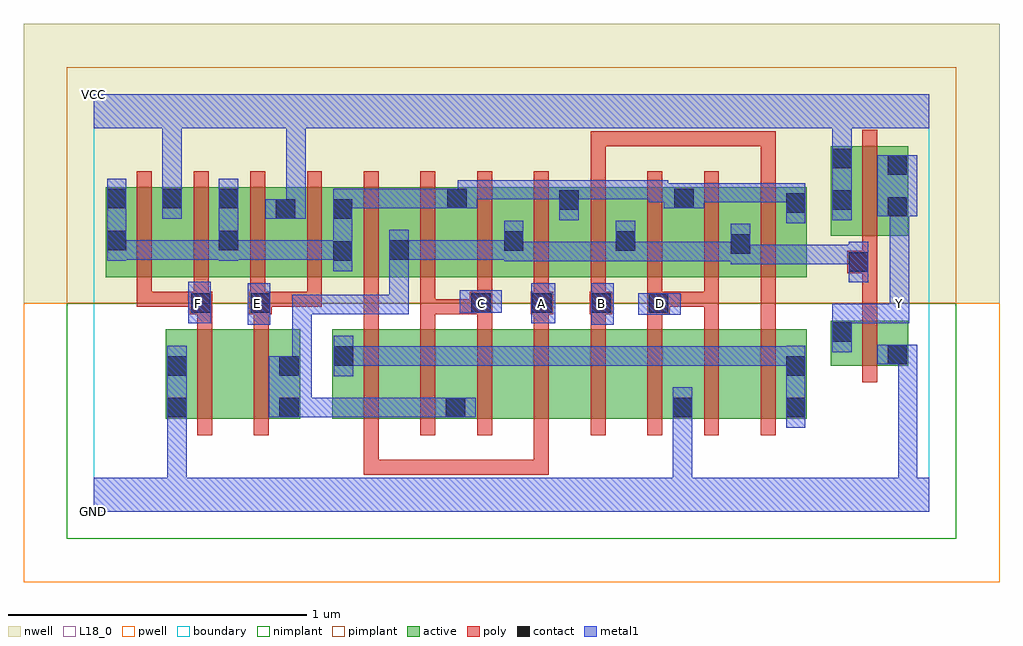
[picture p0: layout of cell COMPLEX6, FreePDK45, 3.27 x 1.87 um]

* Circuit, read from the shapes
.subckt COMPLEX6 A B C D E F GND VCC Y
M1 n1 F GND VSUBS nfet w=0.3u l=0.05u
M2 n2 E n1 VSUBS nfet w=0.3u l=0.05u
M3 n3 A n4 VSUBS nfet w=0.3u l=0.05u
M4 n2 C n3 VSUBS nfet w=0.3u l=0.05u
M5 n5 C n2 VSUBS nfet w=0.3u l=0.05u
M6 n6 A n5 VSUBS nfet w=0.3u l=0.05u
M7 n7 B n6 VSUBS nfet w=0.3u l=0.05u
M8 GND D n7 VSUBS nfet w=0.3u l=0.05u
M9 n8 D GND VSUBS nfet w=0.3u l=0.05u
M10 n4 B n8 VSUBS nfet w=0.3u l=0.05u
M11 GND n2 Y VSUBS nfet w=0.15u l=0.05u
M12 VCC F n9 n10 pfet w=0.3u l=0.05u m=2
M13 VCC E n9 n10 pfet w=0.3u l=0.05u m=2
M14 n2 A n9 n10 pfet w=0.3u l=0.05u m=2
M15 n9 C n2 n10 pfet w=0.3u l=0.05u m=2
M16 n2 B n9 n10 pfet w=0.3u l=0.05u m=2
M17 n9 D n2 n10 pfet w=0.3u l=0.05u m=2
M18 Y n2 VCC n10 pfet w=0.3u l=0.05u
.ends

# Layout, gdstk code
import gdstk
lib = gdstk.Library(unit=1e-6, precision=1e-09)
def R(c, l, rs):  # rectangles x0, y0, x1, y1
    for r in rs: c.add(gdstk.rectangle(r[:2], r[2:], *l))
def A(c, l, x, y, w, h, nx, ny, dx, dy):  # array of equal rectangles
    R(c, l, [(x+i*dx, y+j*dy, x+i*dx+w, y+j*dy+h) for i in range(nx) for j in range(ny)])
active = (1, 0)
pwell = (2, 0)
nwell = (3, 0)
nimplant = (4, 0)
pimplant = (5, 0)
poly = (9, 0)
contact = (10, 0)
metal1 = (11, 0)
L18_0 = (18, 0)
boundary = (235, 0)

complex6 = lib.new_cell('COMPLEX6')
R(complex6, active, [(0.242,0.312,0.317,0.612), (0.242,0.312,0.467,0.612), (0.467,0.312,0.692,0.612), (0.617,0.312,0.692,0.612), (0.8,0.312,1.025,0.612), (1.025,0.312,1.25,0.612), (1.175,0.312,1.405,0.612), (1.175,0.312,1.25,0.517), (1.405,0.312,1.595,0.612), (1.595,0.312,1.785,0.612), (1.785,0.312,2.01,0.612), (1.935,0.312,2.165,0.612), (1.935,0.312,2.01,0.572), (2.165,0.312,2.39,0.612), (2.315,0.312,2.39,0.612), (0.8,0.33,0.875,0.612), (2.47,0.49,2.73,0.64), (2.655,0.49,2.73,0.64), (2.47,0.495,2.545,0.64), (0.04,0.787,0.115,1.087), (0.04,0.787,0.3,1.087), (0.225,0.787,0.49,1.087), (0.415,0.787,0.49,1.087), (0.415,0.787,0.68,1.087), (0.605,0.787,0.68,1.055), (0.605,0.787,0.872,1.087), (0.797,0.787,1.06,1.087), (0.797,0.787,0.872,1.055), (0.985,0.787,1.255,1.087), (1.18,0.787,1.445,1.087), (1.37,0.787,1.63,1.087), (1.555,0.787,1.82,1.087), (1.745,0.787,2.015,1.087), (1.94,0.787,2.205,1.087), (2.13,0.787,2.39,1.087), (2.315,0.787,2.39,1.072), (1.18,0.827,1.255,1.087), (0.985,0.84,1.06,1.055), (2.13,0.86,2.205,1.055), (1.37,0.87,1.445,1.055), (1.745,0.87,1.82,1.055), (1.94,0.882,2.015,1.087), (2.47,0.925,2.545,1.225), (2.47,0.925,2.73,1.225), (2.655,0.925,2.73,1.2), (1.555,0.962,1.63,1.087), (0.225,1.007,0.3,1.087)])
R(complex6, pwell, [(-0.235,-0.235,3.035,0.7)])
R(complex6, nwell, [(-0.235,0.7,3.035,1.635)])
R(complex6, nimplant, [(-0.09,-0.09,2.89,0.7)])
R(complex6, pimplant, [(-0.09,0.7,2.89,1.49)])
A(complex6, poly, 0.905, 0.257, 0.05, 0.41, 8, 1, 0.19, 0)
A(complex6, poly, 1.095, 0.617, 0.05, 0.095, 5, 1, 0.19, 0)
A(complex6, poly, 0.145, 0.687, 0.05, 0.095, 5, 1, 0.19, 0)
A(complex6, poly, 1.285, 0.687, 0.05, 0.095, 5, 1, 0.19, 0)
A(complex6, poly, 0.145, 0.732, 0.05, 0.41, 12, 1, 0.19, 0)
R(complex6, poly, [(0.905,0.125,0.955,0.175), (0.905,0.125,0.955,0.175), (0.905,0.125,0.955,0.175), (0.905,0.125,0.955,0.307), (0.905,0.125,1.177,0.175), (1.127,0.125,1.177,0.175), (1.127,0.125,1.31,0.175), (1.26,0.125,1.31,0.175), (1.26,0.125,1.31,0.175), (1.26,0.125,1.31,0.175), (1.26,0.125,1.525,0.175), (1.475,0.125,1.525,0.175), (1.475,0.125,1.525,0.175), (1.475,0.125,1.525,0.175), (1.475,0.125,1.525,0.307), (0.347,0.257,0.397,0.667), (0.537,0.257,0.587,0.667), (2.575,0.435,2.625,0.695), (0.347,0.617,0.397,0.712), (0.537,0.617,0.587,0.712), (0.905,0.617,0.955,0.737), (2.045,0.617,2.095,0.737), (2.235,0.617,2.285,0.712), (2.575,0.645,2.625,0.85), (0.322,0.662,0.397,0.737), (0.522,0.662,0.597,0.737), (1.095,0.662,1.145,0.712), (1.095,0.662,1.145,0.782), (1.095,0.662,1.31,0.712), (1.26,0.662,1.31,0.712), (1.26,0.662,1.31,0.712), (1.26,0.662,1.335,0.737), (1.465,0.662,1.54,0.737), (1.662,0.662,1.737,0.737), (1.855,0.662,1.93,0.737), (2.235,0.662,2.285,0.712), (2.235,0.662,2.285,0.782), (0.145,0.687,0.195,0.737), (0.145,0.687,0.372,0.737), (0.322,0.687,0.372,0.737), (0.322,0.687,0.372,0.737), (0.547,0.687,0.765,0.737), (0.715,0.687,0.765,0.737), (0.715,0.687,0.765,0.737), (0.715,0.687,0.765,0.737), (0.905,0.687,0.955,0.737), (1.88,0.687,1.93,0.737), (1.88,0.687,1.93,0.737), (1.88,0.687,2.095,0.737), (2.045,0.687,2.095,0.737), (2.525,0.8,2.625,0.875), (2.575,0.825,2.625,0.92), (2.575,0.87,2.625,1.28), (1.665,1.092,1.715,1.275), (2.235,1.092,2.285,1.275), (1.665,1.225,1.715,1.275), (1.665,1.225,1.715,1.275), (1.665,1.225,1.715,1.275), (1.665,1.225,1.962,1.275), (1.912,1.225,1.962,1.275), (1.912,1.225,1.962,1.275), (1.912,1.225,1.962,1.275), (1.912,1.225,2.095,1.275), (2.045,1.225,2.095,1.275), (2.045,1.225,2.285,1.275), (2.235,1.225,2.285,1.275), (2.235,1.225,2.285,1.275), (2.235,1.225,2.285,1.275)])
R(complex6, contact, [(0.247,0.317,0.312,0.382), (0.622,0.317,0.687,0.382), (1.18,0.317,1.245,0.382), (1.94,0.317,2.005,0.382), (2.32,0.317,2.385,0.382), (0.247,0.457,0.312,0.522), (0.622,0.457,0.687,0.522), (2.32,0.457,2.385,0.522), (0.805,0.49,0.87,0.555), (2.66,0.495,2.725,0.56), (2.475,0.57,2.54,0.635), (0.327,0.667,0.392,0.732), (0.527,0.667,0.592,0.732), (1.265,0.667,1.33,0.732), (1.47,0.667,1.535,0.732), (1.667,0.667,1.732,0.732), (1.86,0.667,1.925,0.732), (2.53,0.805,2.595,0.87), (0.802,0.842,0.867,0.907), (0.99,0.845,1.055,0.91), (2.135,0.865,2.2,0.93), (1.375,0.875,1.44,0.94), (1.75,0.875,1.815,0.94), (0.045,0.877,0.11,0.942), (0.42,0.877,0.485,0.942), (0.61,0.982,0.675,1.047), (0.802,0.982,0.867,1.047), (2.66,0.99,2.725,1.055), (2.32,1.002,2.385,1.067), (1.56,1.012,1.625,1.077), (2.475,1.012,2.54,1.077), (0.045,1.017,0.11,1.082), (0.23,1.017,0.295,1.082), (0.42,1.017,0.485,1.082), (1.185,1.017,1.25,1.082), (1.945,1.017,2.01,1.082), (2.66,1.13,2.725,1.195), (2.475,1.152,2.54,1.217)])
R(complex6, metal1, [(0,0,2.8,0.115), (0.247,0.05,0.312,0.115), (0.247,0.05,0.312,0.115), (0.247,0.05,0.312,0.115), (0.247,0.05,0.312,0.115), (0.247,0.05,0.312,0.347), (1.94,0.05,2.005,0.115), (1.94,0.05,2.005,0.115), (1.94,0.05,2.005,0.347), (2.695,0.05,2.76,0.56), (0.247,0.282,0.312,0.557), (1.94,0.282,2.005,0.347), (1.94,0.282,2.005,0.347), (1.94,0.282,2.005,0.417), (2.32,0.282,2.385,0.557), (0.587,0.317,0.73,0.522), (0.665,0.317,0.73,0.382), (0.665,0.317,0.73,0.382), (0.665,0.317,0.73,0.382), (0.665,0.317,0.73,0.382), (0.665,0.317,0.87,0.382), (0.805,0.317,0.87,0.382), (0.805,0.317,0.87,0.382), (0.805,0.317,0.87,0.382), (0.805,0.317,1.007,0.382), (0.942,0.317,1.007,0.382), (0.942,0.317,1.007,0.382), (0.942,0.317,1.007,0.382), (0.942,0.317,1.21,0.382), (1.145,0.317,1.28,0.382), (0.805,0.455,0.87,0.59), (0.665,0.457,0.73,0.727), (0.805,0.49,0.87,0.555), (0.805,0.49,0.87,0.555), (0.805,0.49,1.007,0.555), (0.942,0.49,1.007,0.555), (0.942,0.49,1.007,0.555), (0.942,0.49,1.007,0.555), (0.942,0.49,1.302,0.555), (1.237,0.49,1.302,0.555), (1.237,0.49,1.302,0.555), (1.237,0.49,1.302,0.555), (1.237,0.49,1.457,0.555), (1.392,0.49,1.457,0.555), (1.392,0.49,1.457,0.555), (1.392,0.49,1.457,0.555), (1.392,0.49,1.642,0.555), (1.577,0.49,1.642,0.555), (1.577,0.49,1.642,0.555), (1.577,0.49,1.642,0.555), (1.577,0.49,1.78,0.555), (1.715,0.49,1.78,0.555), (1.715,0.49,1.78,0.555), (1.715,0.49,1.78,0.555), (1.715,0.49,2.062,0.555), (1.997,0.49,2.062,0.555), (1.997,0.49,2.062,0.555), (1.997,0.49,2.062,0.555), (1.997,0.49,2.2,0.555), (2.135,0.49,2.2,0.555), (2.135,0.49,2.385,0.555), (2.32,0.49,2.385,0.555), (2.32,0.49,2.385,0.555), (2.625,0.495,2.76,0.56), (2.695,0.495,2.76,0.56), (2.695,0.495,2.76,0.56), (2.695,0.495,2.76,0.56), (2.695,0.495,2.76,0.56), (2.695,0.495,2.76,0.56), (2.695,0.495,2.76,0.56), (2.475,0.535,2.54,0.67), (2.475,0.605,2.54,0.67), (2.475,0.605,2.54,0.697), (0.517,0.627,0.592,0.767), (1.667,0.627,1.742,0.767), (0.317,0.632,0.392,0.772), (1.467,0.632,1.547,0.767), (2.475,0.632,2.732,0.697), (2.667,0.632,2.732,0.697), (2.667,0.632,2.732,0.697), (2.667,0.632,2.732,0.767), (1.825,0.66,1.967,0.732), (0.665,0.662,0.73,0.727), (0.665,0.662,0.73,0.727), (0.665,0.662,0.73,0.727), (0.665,0.662,0.867,0.727), (0.802,0.662,0.867,0.727), (0.802,0.662,0.867,0.727), (0.802,0.662,0.867,0.727), (0.802,0.662,1.055,0.727), (0.99,0.662,1.055,0.727), (0.99,0.662,1.055,0.875), (1.227,0.667,1.367,0.742), (2.667,0.702,2.732,1.055), (2.53,0.77,2.595,0.905), (0.802,0.807,0.867,1.082), (0.99,0.81,1.055,0.945), (2.135,0.83,2.2,0.965), (2.135,0.83,2.402,0.895), (2.337,0.83,2.402,0.895), (2.337,0.83,2.402,0.895), (2.337,0.83,2.402,0.895), (2.337,0.83,2.552,0.895), (2.487,0.83,2.552,0.895), (2.487,0.83,2.552,0.895), (2.487,0.83,2.552,0.895), (2.487,0.83,2.595,0.895), (1.375,0.84,1.44,0.905), (1.375,0.84,1.44,0.905), (1.375,0.84,1.44,0.975), (1.375,0.84,1.595,0.905), (1.53,0.84,1.595,0.905), (1.53,0.84,1.595,0.905), (1.53,0.84,1.595,0.905), (1.53,0.84,1.815,0.905), (1.75,0.84,1.815,0.905), (1.75,0.84,1.815,0.905), (1.75,0.84,1.815,0.975), (1.75,0.84,2.062,0.905), (1.997,0.84,2.062,0.905), (1.997,0.84,2.062,0.905), (1.997,0.84,2.062,0.905), (1.997,0.84,2.2,0.905), (0.045,0.842,0.11,1.117), (0.42,0.842,0.485,1.117), (0.045,0.845,0.11,0.91), (0.045,0.845,0.11,0.91), (0.045,0.845,0.247,0.91), (0.182,0.845,0.247,0.91), (0.182,0.845,0.247,0.91), (0.182,0.845,0.247,0.91), (0.182,0.845,0.485,0.91), (0.42,0.845,0.485,0.91), (0.42,0.845,0.485,0.91), (0.42,0.845,0.73,0.91), (0.665,0.845,0.73,0.91), (0.665,0.845,0.73,0.91), (0.665,0.845,0.73,0.91), (0.665,0.845,0.867,0.91), (0.99,0.845,1.055,0.91), (0.99,0.845,1.055,0.91), (0.99,0.845,1.192,0.91), (1.127,0.845,1.192,0.91), (1.127,0.845,1.192,0.91), (1.127,0.845,1.192,0.91), (1.127,0.845,1.44,0.91), (2.32,0.967,2.385,1.102), (1.56,0.977,1.625,1.112), (2.475,0.977,2.54,1.252), (0.23,0.982,0.295,1.117), (0.575,0.982,0.71,1.047), (0.645,0.982,0.71,1.047), (0.645,0.982,0.71,1.047), (0.645,0.982,0.71,1.35), (2.625,0.99,2.76,1.195), (0.802,1.017,0.867,1.082), (0.802,1.017,0.867,1.082), (0.802,1.017,0.867,1.082), (0.802,1.017,0.867,1.082), (0.802,1.017,1.007,1.082), (0.942,1.017,1.007,1.082), (0.942,1.017,1.007,1.082), (0.942,1.017,1.007,1.082), (0.942,1.017,1.215,1.082), (1.15,1.017,1.285,1.082), (1.22,1.017,1.285,1.082), (1.22,1.017,1.285,1.112), (1.91,1.017,2.045,1.102), (1.86,1.037,1.975,1.102), (1.86,1.037,1.925,1.112), (1.98,1.037,2.2,1.102), (2.135,1.037,2.2,1.102), (2.135,1.037,2.2,1.102), (2.135,1.037,2.2,1.102), (2.135,1.037,2.385,1.102), (2.32,1.037,2.385,1.102), (2.32,1.037,2.385,1.102), (1.22,1.047,1.44,1.112), (1.375,1.047,1.44,1.112), (1.375,1.047,1.44,1.112), (1.375,1.047,1.44,1.112), (1.375,1.047,1.625,1.112), (1.56,1.047,1.625,1.112), (1.56,1.047,1.625,1.112), (1.56,1.047,1.837,1.112), (1.772,1.047,1.837,1.112), (1.772,1.047,1.925,1.112), (0.23,1.052,0.295,1.117), (0.23,1.052,0.295,1.117), (0.23,1.052,0.295,1.35), (2.475,1.187,2.54,1.35), (0,1.285,2.8,1.4), (2.475,1.285,2.54,1.35), (2.475,1.285,2.54,1.35)])
A(complex6, L18_0, 1.267, 0.667, 0.065, 0.065, 4, 1, 0.2, 0)
R(complex6, L18_0, [(0,0,2.8,0.115), (0.247,0.05,0.312,0.115), (0.247,0.05,0.312,0.115), (0.247,0.05,0.312,0.115), (0.247,0.05,0.312,0.115), (0.247,0.05,0.312,0.347), (1.94,0.05,2.005,0.115), (1.94,0.05,2.005,0.115), (1.94,0.05,2.005,0.347), (2.695,0.05,2.76,0.56), (0.247,0.282,0.312,0.557), (1.94,0.282,2.005,0.347), (1.94,0.282,2.005,0.347), (1.94,0.282,2.005,0.417), (2.625,0.495,2.76,0.56), (2.695,0.495,2.76,0.56), (2.695,0.495,2.76,0.56), (2.695,0.495,2.76,0.56), (2.695,0.495,2.76,0.56), (2.695,0.495,2.76,0.56), (2.695,0.495,2.76,0.56), (2.475,0.535,2.54,0.67), (2.475,0.605,2.54,0.67), (2.475,0.605,2.54,0.697), (0.517,0.627,0.592,0.767), (1.667,0.627,1.742,0.767), (0.317,0.632,0.392,0.772), (1.467,0.632,1.547,0.767), (2.475,0.632,2.732,0.697), (2.667,0.632,2.732,0.697), (2.667,0.632,2.732,0.697), (2.667,0.632,2.732,0.767), (1.825,0.66,1.967,0.732), (0.317,0.667,0.382,0.732), (0.517,0.667,0.582,0.732), (1.227,0.667,1.367,0.742), (2.667,0.667,2.732,0.732), (2.667,0.702,2.732,1.055), (2.475,0.977,2.54,1.252), (0.23,0.982,0.295,1.117), (0.575,0.982,0.71,1.047), (0.645,0.982,0.71,1.047), (0.645,0.982,0.71,1.047), (0.645,0.982,0.71,1.35), (2.625,0.99,2.76,1.195), (0.23,1.052,0.295,1.117), (0.23,1.052,0.295,1.117), (0.23,1.052,0.295,1.35), (2.475,1.187,2.54,1.35), (0,1.285,2.8,1.4), (2.475,1.285,2.54,1.35), (2.475,1.285,2.54,1.35)])
R(complex6, boundary, [(0,0,2.8,1.4)])
complex6.add(gdstk.Label('A', (1.5,0.7), layer=11, texttype=0))
complex6.add(gdstk.Label('B', (1.7,0.7), layer=11, texttype=0))
complex6.add(gdstk.Label('C', (1.3,0.7), layer=11, texttype=0))
complex6.add(gdstk.Label('D', (1.9,0.7), layer=11, texttype=0))
complex6.add(gdstk.Label('E', (0.55,0.7), layer=11, texttype=0))
complex6.add(gdstk.Label('F', (0.35,0.7), layer=11, texttype=0))
complex6.add(gdstk.Label('Y', (2.7,0.7), layer=11, texttype=0))
complex6.add(gdstk.Label('VCC', (0,1.4), layer=11, texttype=0))
complex6.add(gdstk.Label('GND', (0,0), layer=11, texttype=0))

lib.write_gds('COMPLEX6.gds')
